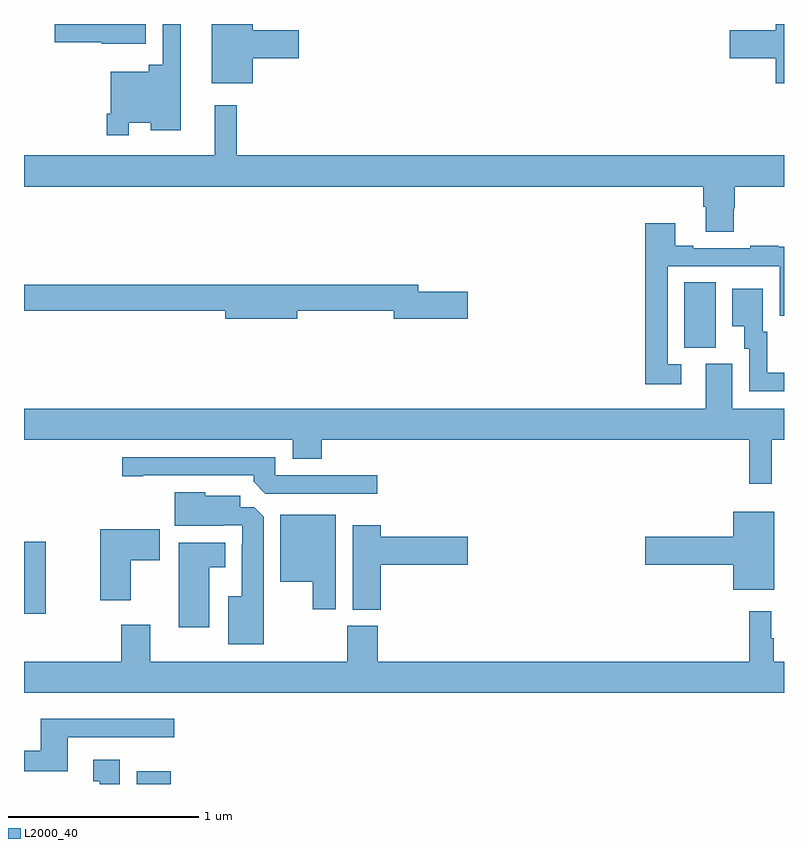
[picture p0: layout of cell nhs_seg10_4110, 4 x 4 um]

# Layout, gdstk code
import gdstk
lib = gdstk.Library(unit=1e-6, precision=1e-09)
def R(c, l, rs):  # rectangles x0, y0, x1, y1
    for r in rs: c.add(gdstk.rectangle(r[:2], r[2:], *l))
def P(c, l, *ps):  # polygons
    for p in ps: c.add(gdstk.Polygon(p, *l))
L2000_40 = (2000, 40)

nhs_seg10_4110 = lib.new_cell('nhs_seg10_4110')
R(nhs_seg10_4110, L2000_40, [(339.593,1302.5,339.772,1302.568), (339,1303.395,339.114,1303.776), (342.476,1304.797,342.64,1305.14)])
P(nhs_seg10_4110, L2000_40, [(339.64,1306.5),(339.162,1306.5),(339.162,1306.403),(339.408,1306.403),(339.408,1306.397),(339.64,1306.397)],
  [(343,1306.5),(342.956,1306.5),(342.956,1306.466),(342.714,1306.466),(342.714,1306.319),(342.956,1306.319),(342.956,1306.187),(343,1306.187)],
  [(340.204,1306.319),(340.447,1306.319),(340.447,1306.466),(340.204,1306.466),(340.204,1306.5),(339.989,1306.5),(339.989,1306.187),(340.204,1306.187)],
  [(339.552,1305.98),(339.668,1305.98),(339.668,1305.941),(339.826,1305.941),(339.826,1306.5),(339.729,1306.5),(339.729,1306.285),(339.656,1306.285),(339.656,1306.249),(339.456,1306.249),(339.456,1306.027),(339.436,1306.027),(339.436,1305.915),(339.552,1305.915)],
  [(342.735,1305.531),(342.74,1305.531),(342.74,1305.644),(343,1305.644),(343,1305.808),(340.121,1305.808),(340.121,1306.072),(340.004,1306.072),(340.004,1305.808),(339,1305.808),(339,1305.644),(342.575,1305.644),(342.575,1305.538),(342.587,1305.538),(342.587,1305.406),(342.735,1305.406)],
  [(342.46,1304.709),(342.387,1304.709),(342.387,1305.225),(342.978,1305.225),(342.978,1304.964),(343,1304.964),(343,1305.327),(342.971,1305.327),(342.971,1305.334),(342.823,1305.334),(342.823,1305.321),(342.523,1305.321),(342.523,1305.334),(342.427,1305.334),(342.427,1305.451),(342.271,1305.451),(342.271,1304.604),(342.46,1304.604)],
  [(340.438,1304.992),(340.946,1304.992),(340.946,1304.95),(341.335,1304.95),(341.335,1305.092),(341.074,1305.092),(341.074,1305.128),(339,1305.128),(339,1304.992),(340.058,1304.992),(340.058,1304.95),(340.438,1304.95)],
  [(343,1304.664),(342.913,1304.664),(342.913,1304.88),(342.889,1304.88),(342.889,1305.106),(342.728,1305.106),(342.728,1304.909),(342.791,1304.909),(342.791,1304.79),(342.816,1304.79),(342.816,1304.568),(343,1304.568)],
  [(342.935,1304.312),(343,1304.312),(343,1304.476),(342.727,1304.476),(342.727,1304.712),(342.587,1304.712),(342.587,1304.476),(339,1304.476),(339,1304.312),(340.415,1304.312),(340.415,1304.213),(340.568,1304.213),(340.568,1304.312),(342.817,1304.312),(342.817,1304.079),(342.935,1304.079)],
  [(340.858,1304.124),(340.323,1304.124),(340.323,1304.22),(339.516,1304.22),(339.516,1304.119),(339.628,1304.119),(339.628,1304.124),(340.208,1304.124),(340.208,1304.09),(340.269,1304.028),(340.858,1304.028)],
  [(340.261,1303.907),(340.212,1303.956),(340.138,1303.956),(340.138,1304.017),(339.954,1304.017),(339.954,1304.035),(339.794,1304.035),(339.794,1303.859),(340.049,1303.859),(340.049,1303.863),(340.149,1303.863),(340.149,1303.763),(340.145,1303.763),(340.145,1303.489),(340.076,1303.489),(340.076,1303.235),(340.261,1303.235)],
  [(342.949,1303.933),(342.734,1303.933),(342.734,1303.802),(342.27,1303.802),(342.27,1303.655),(342.734,1303.655),(342.734,1303.523),(342.949,1303.523)],
  [(340.642,1303.918),(340.349,1303.918),(340.349,1303.565),(340.52,1303.565),(340.52,1303.419),(340.642,1303.419)],
  [(340.877,1303.655),(341.335,1303.655),(341.335,1303.802),(340.877,1303.802),(340.877,1303.861),(340.73,1303.861),(340.73,1303.417),(340.877,1303.417)],
  [(339.562,1303.678),(339.715,1303.678),(339.715,1303.84),(339.4,1303.84),(339.4,1303.467),(339.562,1303.467)],
  [(339.976,1303.64),(340.06,1303.64),(340.06,1303.771),(339.815,1303.771),(339.815,1303.326),(339.976,1303.326)],
  [(343,1303.144),(342.946,1303.144),(342.946,1303.268),(342.934,1303.268),(342.934,1303.408),(342.817,1303.408),(342.817,1303.144),(340.862,1303.144),(340.862,1303.332),(340.702,1303.332),(340.702,1303.144),(339.664,1303.144),(339.664,1303.339),(339.512,1303.339),(339.512,1303.144),(339,1303.144),(339,1302.98),(343,1302.98)],
  [(339.229,1302.747),(339.79,1302.747),(339.79,1302.844),(339.089,1302.844),(339.089,1302.676),(339,1302.676),(339,1302.566),(339.229,1302.566)],
  [(339.505,1302.628),(339.365,1302.628),(339.365,1302.515),(339.398,1302.515),(339.398,1302.5),(339.505,1302.5)])

lib.write_gds('nhs_seg10_4110.gds')
